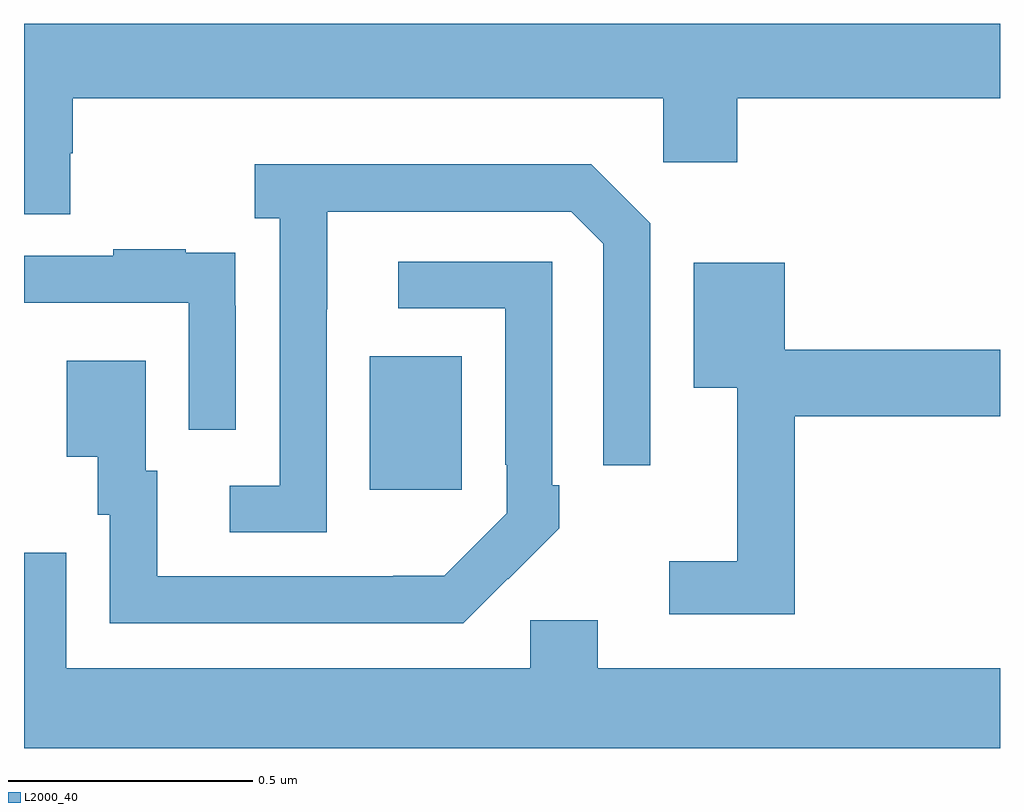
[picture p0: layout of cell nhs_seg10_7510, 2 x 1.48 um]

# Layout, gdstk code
import gdstk
lib = gdstk.Library(unit=1e-6, precision=1e-09)
def R(c, l, rs):  # rectangles x0, y0, x1, y1
    for r in rs: c.add(gdstk.rectangle(r[:2], r[2:], *l))
def P(c, l, *ps):  # polygons
    for p in ps: c.add(gdstk.Polygon(p, *l))
L2000_40 = (2000, 40)

nhs_seg10_7510 = lib.new_cell('nhs_seg10_7510')
R(nhs_seg10_7510, L2000_40, [(205.709,1267.545,205.897,1267.819)])
P(nhs_seg10_7510, L2000_40, [(205.095,1268.235),(205.1,1268.235),(205.1,1268.348),(206.31,1268.348),(206.31,1268.217),(206.462,1268.217),(206.462,1268.348),(207,1268.348),(207,1268.5),(205,1268.5),(205,1268.11),(205.095,1268.11)],
  [(205.62,1267.915),(205.621,1267.915),(205.621,1268.115),(206.121,1268.115),(206.187,1268.049),(206.187,1267.596),(206.283,1267.596),(206.283,1268.091),(206.162,1268.212),(205.473,1268.212),(205.473,1268.102),(205.524,1268.102),(205.524,1267.554),(205.422,1267.554),(205.422,1267.458),(205.62,1267.458)],
  [(205.434,1267.922),(205.433,1267.922),(205.433,1268.031),(205.331,1268.031),(205.331,1268.038),(205.183,1268.038),(205.183,1268.025),(205,1268.025),(205,1267.929),(205.338,1267.929),(205.338,1267.668),(205.434,1267.668)],
  [(205.991,1267.363),(205.992,1267.362),(206.097,1267.467),(206.097,1267.555),(206.082,1267.555),(206.082,1268.013),(205.767,1268.013),(205.767,1267.917),(205.986,1267.917),(205.986,1267.597),(205.989,1267.597),(205.989,1267.497),(205.861,1267.369),(205.757,1267.369),(205.757,1267.368),(205.273,1267.368),(205.273,1267.584),(205.249,1267.584),(205.249,1267.81),(205.088,1267.81),(205.088,1267.613),(205.151,1267.613),(205.151,1267.494),(205.176,1267.494),(205.176,1267.272),(205.9,1267.272)],
  [(206.579,1267.696),(207,1267.696),(207,1267.832),(206.559,1267.832),(206.559,1268.011),(206.372,1268.011),(206.372,1267.754),(206.462,1267.754),(206.462,1267.399),(206.322,1267.399),(206.322,1267.29),(206.579,1267.29)],
  [(207,1267.18),(206.176,1267.18),(206.176,1267.278),(206.037,1267.278),(206.037,1267.18),(205.087,1267.18),(205.087,1267.416),(205,1267.416),(205,1267.016),(207,1267.016)])

lib.write_gds('nhs_seg10_7510.gds')
